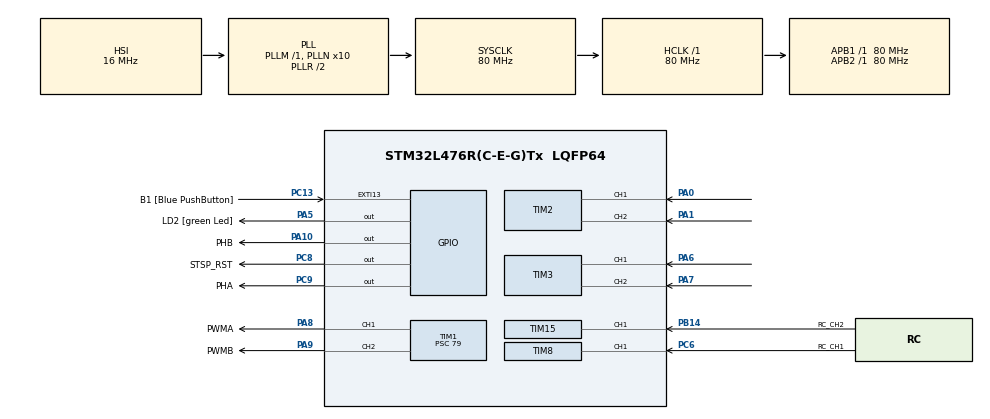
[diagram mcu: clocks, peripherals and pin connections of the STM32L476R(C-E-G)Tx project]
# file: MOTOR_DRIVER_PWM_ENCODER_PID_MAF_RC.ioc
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Mcu.Family=STM32L4
Mcu.Name=STM32L476R(C-E-G)Tx
Mcu.Package=LQFP64
NVIC.PriorityGroup=NVIC_PRIORITYGROUP_4
NVIC.TIM1_BRK_TIM15_IRQn=true\:0\:0\:false\:false\:true\:true\:true\:true
NVIC.TIM4_IRQn=true\:0\:0\:false\:false\:true\:true\:true\:true
NVIC.TIM8_BRK_IRQn=true\:0\:0\:false\:false\:true\:true\:true\:true
NVIC.TIM8_CC_IRQn=true\:0\:0\:false\:false\:true\:true\:true\:true
NVIC.TIM8_TRG_COM_IRQn=true\:0\:0\:false\:false\:true\:true\:true\:true
NVIC.TIM8_UP_IRQn=true\:0\:0\:false\:false\:true\:true\:true\:true
PA0.Signal=S_TIM2_CH1
PA1.Signal=S_TIM2_CH2
PA10.GPIO_Label=PHB
PA10.Signal=GPIO_Output
PA13\ (JTMS-SWDIO).GPIO_Label=TMS
PA13\ (JTMS-SWDIO).Signal=SYS_JTMS-SWDIO
PA14\ (JTCK-SWCLK).GPIO_Label=TCK
PA14\ (JTCK-SWCLK).Signal=SYS_JTCK-SWCLK
PA2.GPIO_Label=USART_TX
PA2.GPIO_Mode=GPIO_MODE_AF_PP
PA2.GPIO_PuPd=GPIO_NOPULL
PA2.GPIO_Speed=GPIO_SPEED_FREQ_VERY_HIGH
PA2.Signal=USART2_TX
PA3.GPIO_Label=USART_RX
PA3.GPIO_Mode=GPIO_MODE_AF_PP
PA3.GPIO_PuPd=GPIO_NOPULL
PA3.GPIO_Speed=GPIO_SPEED_FREQ_VERY_HIGH
PA3.Signal=USART2_RX
PA5.GPIO_Label=LD2 [green Led]
PA5.GPIO_ModeDefaultOutputPP=GPIO_MODE_OUTPUT_PP
PA5.GPIO_PuPd=GPIO_NOPULL
PA5.GPIO_Speed=GPIO_SPEED_FREQ_LOW
PA5.Signal=GPIO_Output
PA6.Signal=S_TIM3_CH1
PA7.Signal=S_TIM3_CH2
PA8.GPIO_Label=PWMA
PA8.Signal=S_TIM1_CH1
PA9.GPIO_Label=PWMB
PA9.Signal=S_TIM1_CH2
PB14.GPIO_Label=RC_CH2
PB14.Signal=S_TIM15_CH1
PB3\ (JTDO-TRACESWO).GPIO_Label=SWO
PB3\ (JTDO-TRACESWO).Signal=SYS_JTDO-SWO
PC13.GPIO_Label=B1 [Blue PushButton]
PC13.GPIO_ModeDefaultEXTI=GPIO_MODE_IT_FALLING
PC13.GPIO_PuPd=GPIO_NOPULL
PC13.Signal=GPXTI13
PC14-OSC32_IN\ (PC14).Signal=RCC_OSC32_IN
PC15-OSC32_OUT\ (PC15).Signal=RCC_OSC32_OUT
PC6.GPIO_Label=RC_CH1
PC6.Signal=S_TIM8_CH1
PC8.GPIO_Label=STSP_RST
PC8.Signal=GPIO_Output
PC9.GPIO_Label=PHA
PC9.Signal=GPIO_Output
PH0-OSC_IN\ (PH0).Signal=RCC_OSC_IN
PH1-OSC_OUT\ (PH1).Signal=RCC_OSC_OUT
ProjectManager.HeapSize=0x200
ProjectManager.StackSize=0x400
ProjectManager.TargetToolchain=STM32CubeIDE
RCC.ADCFreq_Value=64000000
RCC.AHBFreq_Value=80000000
RCC.APB1Freq_Value=80000000
RCC.APB1TimFreq_Value=80000000
RCC.APB2Freq_Value=80000000
RCC.APB2TimFreq_Value=80000000
RCC.CortexFreq_Value=80000000
RCC.HCLKFreq_Value=80000000
RCC.HSE_VALUE=8000000
RCC.HSI_VALUE=16000000
RCC.LSE_VALUE=32768
RCC.MSI_VALUE=4000000
RCC.PLLN=10
RCC.PLLSourceVirtual=RCC_PLLSOURCE_HSI
RCC.PREFETCH_ENABLE=1
RCC.SYSCLKFreq_VALUE=80000000
RCC.SYSCLKSource=RCC_SYSCLKSOURCE_PLLCLK
RCC.USBFreq_Value=64000000
RCC.VCOOutputFreq_Value=160000000
SH.S_TIM15_CH1.0=TIM15_CH1,PWM_Input_1
SH.S_TIM1_CH1.0=TIM1_CH1,PWM Generation1 CH1
SH.S_TIM1_CH2.0=TIM1_CH2,PWM Generation2 CH2
SH.S_TIM2_CH1.0=TIM2_CH1,Encoder_Interface
SH.S_TIM2_CH2.0=TIM2_CH2,Encoder_Interface
SH.S_TIM3_CH1.0=TIM3_CH1,Encoder_Interface
SH.S_TIM3_CH2.0=TIM3_CH2,Encoder_Interface
SH.S_TIM8_CH1.0=TIM8_CH1,PWM_Input_1
TIM1.Channel-PWM\ Generation1\ CH1=TIM_CHANNEL_1
TIM1.Channel-PWM\ Generation2\ CH2=TIM_CHANNEL_2
TIM1.Period=999
TIM1.Prescaler=79
TIM15.Prescaler=9
TIM4.Period=1999
TIM4.Prescaler=79
TIM8.Prescaler=9
VP_TIM15_VS_ClockSourceINT.Mode=Internal
VP_TIM1_VS_ClockSourceINT.Mode=Internal
VP_TIM4_VS_ClockSourceINT.Mode=Internal
VP_TIM8_VS_ClockSourceINT.Mode=Internal
board=NUCLEO-L476RG

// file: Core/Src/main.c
/* USER CODE BEGIN Header */
/**
  ******************************************************************************
  * @file           : main.c
  * @brief          : Main program body
  ******************************************************************************
  * @attention
  *
  * Copyright (c) 2024 STMicroelectronics.
  * All rights reserved.
  *
  * This software is licensed under terms that can be found in the LICENSE file
  * in the root directory of this software component.
  * If no LICENSE file comes with this software, it is provided AS-IS.
  *
  ******************************************************************************
  */
/* USER CODE END Header */
#include "main.h"

/* USER CODE BEGIN Includes */
#include "motor_control.h"
#include "stdio.h"
#include "motor_encoder.h"
#include "pid_control.h"
/* USER CODE END Includes */

/* USER CODE BEGIN PD */
#define RC_OFFSET 12000
/* USER CODE END PD */

TIM_HandleTypeDef htim1;
TIM_HandleTypeDef htim2;
TIM_HandleTypeDef htim3;
TIM_HandleTypeDef htim4;
TIM_HandleTypeDef htim8;
TIM_HandleTypeDef htim15;

/* USER CODE BEGIN PV */
const static motor_inst motor_a = { .htim_motor = &htim1,
									.htim_motor_ch = TIM_CHANNEL_1,
									.mdir_pin_number = PHA_Pin,
									.mdir_pin_port = PHA_GPIO_Port,
									.rst_pin_number = STSP_RST_Pin,
									.rst_pin_port = STSP_RST_GPIO_Port};
const static motor_inst motor_b = { .htim_motor = &htim1,
									.htim_motor_ch = TIM_CHANNEL_2,
									.mdir_pin_number = PHB_Pin,
									.mdir_pin_port = PHB_GPIO_Port,
									.rst_pin_number = STSP_RST_Pin,
									.rst_pin_port = STSP_RST_GPIO_Port};

static encoder_inst  motora_enc = 	{.first_time = 0,
											.htim_encoder = &htim3,
											.last_counter_value = 0,
											.position = 0,
											.timer_period = 0.01,
											.velocity = 0};
static encoder_inst  motorb_enc = 	{.first_time = 0,
											.htim_encoder = &htim2,
											.last_counter_value = 0,
											.position = 0,
											.timer_period = 0.01,
											.velocity = 0};
static pid_instance mota_pid = {.d_gain = 0,
								.error_integral = 0,
								.i_gain = 25,
								.integral_max = 5000,
								.last_error = 0,
								.output = 0,
								.p_gain = 20,
								.pid_max = 100,
								.sam_rate = 100};

float temp_velocity;
uint8_t timer_flag;
int32_t duty_cyclech1, duty_cyclech2;

/* USER CODE END PV */

void SystemClock_Config(void);
static void MX_GPIO_Init(void);
static void MX_TIM1_Init(void);
static void MX_TIM2_Init(void);
static void MX_TIM3_Init(void);
static void MX_TIM4_Init(void);
static void MX_TIM8_Init(void);
static void MX_TIM15_Init(void);

/* USER CODE BEGIN 0 */
void HAL_TIM_IC_CaptureCallback(TIM_HandleTypeDef *htim)
{
	//int32_t frequency;
	uint32_t capture_value;
	static uint8_t first_time1 = 1, first_time2 = 1;

	if (htim == &htim8)
	{
		if(first_time1 == 0)
		{
			if(htim ->Channel == HAL_TIM_ACTIVE_CHANNEL_1)
			{
				capture_value = HAL_TIM_ReadCapturedValue(htim, TIM_CHANNEL_1);
			}
			if(htim ->Channel == HAL_TIM_ACTIVE_CHANNEL_2)
			{
				duty_cyclech1 = HAL_TIM_ReadCapturedValue(htim, TIM_CHANNEL_2) - RC_OFFSET;
			}

		}
		else
		{
			first_time1 = 0;
		}
	}
	if (htim == &htim15)
	{
		if(first_time2 == 0)
		{
			if(htim ->Channel == HAL_TIM_ACTIVE_CHANNEL_1)
			{
				capture_value = HAL_TIM_ReadCapturedValue(htim, TIM_CHANNEL_1);
			}
			if(htim ->Channel == HAL_TIM_ACTIVE_CHANNEL_2)
			{
				duty_cyclech2 = HAL_TIM_ReadCapturedValue(htim, TIM_CHANNEL_2) - RC_OFFSET;
			}
		}
		else
		{
			first_time2 = 0;
		}
	}
}
/* USER CODE END 0 */

int main(void)
{

  /* MCU Configuration--------------------------------------------------------*/

  /* Reset of all peripherals, Initializes the Flash interface and the Systick. */
  HAL_Init();

  /* Configure the system clock */
  SystemClock_Config();

  /* Initialize all configured peripherals */
  MX_GPIO_Init();
  MX_TIM1_Init();
  MX_TIM2_Init();
  MX_TIM3_Init();
  MX_TIM4_Init();
  MX_TIM8_Init();
  MX_TIM15_Init();
  /* USER CODE BEGIN 2 */

  HAL_TIM_PWM_Start(&htim1, TIM_CHANNEL_1);
  HAL_TIM_PWM_Start(&htim1, TIM_CHANNEL_2);
  enable_motor((motor_inst*)&motor_a);
  enable_motor((motor_inst*)&motor_b);
//  HAL_Delay(100);
//  set_speed_open((motor_inst*)&motor_a, 20.0);
//  set_speed_open((motor_inst*)&motor_b, 20.0);
//  HAL_Delay(3000);
//  set_speed_open((motor_inst*)&motor_a, -10.0);
//   set_speed_open((motor_inst*)&motor_b, -20.0);
//   HAL_Delay(3000);
//   disable_motor((motor_inst*)&motor_a);
//   disable_motor((motor_inst*)&motor_b);
  reset_encoder(&motora_enc);
  reset_encoder(&motorb_enc);
  reset_pid(&mota_pid);
  /* USER CODE END 2 */

  /* Infinite loop */
  /* USER CODE BEGIN WHILE */
  while (1)
  {
	  if(timer_flag)
	  {
		  timer_flag = 0;
		  get_encoder_speed(&motora_enc);
		  get_encoder_speed(&motorb_enc);
		  temp_velocity = motora_enc.velocity;
		  //apply_pid(&mota_pid, 5 - temp_velocity);
		  set_speed_open((motor_inst*)&motor_a, (duty_cyclech1 / 100));
		  set_speed_open((motor_inst*)&motor_b, (duty_cyclech2 / 100));

	  }
    /* USER CODE END WHILE */

  }
}

void SystemClock_Config(void)
{
  RCC_OscInitTypeDef RCC_OscInitStruct = {0};
  RCC_ClkInitTypeDef RCC_ClkInitStruct = {0};

  /** Configure the main internal regulator output voltage
  */
  if (HAL_PWREx_ControlVoltageScaling(PWR_REGULATOR_VOLTAGE_SCALE1) != HAL_OK)
  {
    Error_Handler();
  }

  /** Initializes the RCC Oscillators according to the specified parameters
  * in the RCC_OscInitTypeDef structure.
  */
  RCC_OscInitStruct.OscillatorType = RCC_OSCILLATORTYPE_HSI;
  RCC_OscInitStruct.HSIState = RCC_HSI_ON;
  RCC_OscInitStruct.HSICalibrationValue = RCC_HSICALIBRATION_DEFAULT;
  RCC_OscInitStruct.PLL.PLLState = RCC_PLL_ON;
  RCC_OscInitStruct.PLL.PLLSource = RCC_PLLSOURCE_HSI;
  RCC_OscInitStruct.PLL.PLLM = 1;
  RCC_OscInitStruct.PLL.PLLN = 10;
  RCC_OscInitStruct.PLL.PLLP = RCC_PLLP_DIV7;
  RCC_OscInitStruct.PLL.PLLQ = RCC_PLLQ_DIV2;
  RCC_OscInitStruct.PLL.PLLR = RCC_PLLR_DIV2;
  if (HAL_RCC_OscConfig(&RCC_OscInitStruct) != HAL_OK)
  {
    Error_Handler();
  }

  /** Initializes the CPU, AHB and APB buses clocks
  */
  RCC_ClkInitStruct.ClockType = RCC_CLOCKTYPE_HCLK|RCC_CLOCKTYPE_SYSCLK
                              |RCC_CLOCKTYPE_PCLK1|RCC_CLOCKTYPE_PCLK2;
  RCC_ClkInitStruct.SYSCLKSource = RCC_SYSCLKSOURCE_PLLCLK;
  RCC_ClkInitStruct.AHBCLKDivider = RCC_SYSCLK_DIV1;
  RCC_ClkInitStruct.APB1CLKDivider = RCC_HCLK_DIV1;
  RCC_ClkInitStruct.APB2CLKDivider = RCC_HCLK_DIV1;

  if (HAL_RCC_ClockConfig(&RCC_ClkInitStruct, FLASH_LATENCY_4) != HAL_OK)
  {
    Error_Handler();
  }
}

static void MX_TIM1_Init(void)
{

  TIM_ClockConfigTypeDef sClockSourceConfig = {0};
  TIM_MasterConfigTypeDef sMasterConfig = {0};
  TIM_OC_InitTypeDef sConfigOC = {0};
  TIM_BreakDeadTimeConfigTypeDef sBreakDeadTimeConfig = {0};

  /* USER CODE BEGIN TIM1_Init 1 */
  // 80 MHz/ ( 79 + 1) = 1 MHz timer
  // 1 MHZ/ (999 + 1) = 1 kHz
  // 500 / (999 + 1) = 0.5
  /* USER CODE END TIM1_Init 1 */
  htim1.Instance = TIM1;
  htim1.Init.Prescaler = 79;
  htim1.Init.CounterMode = TIM_COUNTERMODE_UP;
  htim1.Init.Period = 999;
  htim1.Init.ClockDivision = TIM_CLOCKDIVISION_DIV1;
  htim1.Init.RepetitionCounter = 0;
  htim1.Init.AutoReloadPreload = TIM_AUTORELOAD_PRELOAD_DISABLE;
  if (HAL_TIM_Base_Init(&htim1) != HAL_OK)
  {
    Error_Handler();
  }
  sClockSourceConfig.ClockSource = TIM_CLOCKSOURCE_INTERNAL;
  if (HAL_TIM_ConfigClockSource(&htim1, &sClockSourceConfig) != HAL_OK)
  {
    Error_Handler();
  }
  if (HAL_TIM_PWM_Init(&htim1) != HAL_OK)
  {
    Error_Handler();
  }
  sMasterConfig.MasterOutputTrigger = TIM_TRGO_RESET;
  sMasterConfig.MasterOutputTrigger2 = TIM_TRGO2_RESET;
  sMasterConfig.MasterSlaveMode = TIM_MASTERSLAVEMODE_DISABLE;
  if (HAL_TIMEx_MasterConfigSynchronization(&htim1, &sMasterConfig) != HAL_OK)
  {
    Error_Handler();
  }
  sConfigOC.OCMode = TIM_OCMODE_PWM1;
  sConfigOC.Pulse = 0;
  sConfigOC.OCPolarity = TIM_OCPOLARITY_HIGH;
  sConfigOC.OCNPolarity = TIM_OCNPOLARITY_HIGH;
  sConfigOC.OCFastMode = TIM_OCFAST_DISABLE;
  sConfigOC.OCIdleState = TIM_OCIDLESTATE_RESET;
  sConfigOC.OCNIdleState = TIM_OCNIDLESTATE_RESET;
  if (HAL_TIM_PWM_ConfigChannel(&htim1, &sConfigOC, TIM_CHANNEL_1) != HAL_OK)
  {
    Error_Handler();
  }
  if (HAL_TIM_PWM_ConfigChannel(&htim1, &sConfigOC, TIM_CHANNEL_2) != HAL_OK)
  {
    Error_Handler();
  }
  sBreakDeadTimeConfig.OffStateRunMode = TIM_OSSR_DISABLE;
  sBreakDeadTimeConfig.OffStateIDLEMode = TIM_OSSI_DISABLE;
  sBreakDeadTimeConfig.LockLevel = TIM_LOCKLEVEL_OFF;
  sBreakDeadTimeConfig.DeadTime = 0;
  sBreakDeadTimeConfig.BreakState = TIM_BREAK_DISABLE;
  sBreakDeadTimeConfig.BreakPolarity = TIM_BREAKPOLARITY_HIGH;
  sBreakDeadTimeConfig.BreakFilter = 0;
  sBreakDeadTimeConfig.Break2State = TIM_BREAK2_DISABLE;
  sBreakDeadTimeConfig.Break2Polarity = TIM_BREAK2POLARITY_HIGH;
  sBreakDeadTimeConfig.Break2Filter = 0;
  sBreakDeadTimeConfig.AutomaticOutput = TIM_AUTOMATICOUTPUT_DISABLE;
  if (HAL_TIMEx_ConfigBreakDeadTime(&htim1, &sBreakDeadTimeConfig) != HAL_OK)
  {
    Error_Handler();
  }
  HAL_TIM_MspPostInit(&htim1);

}

static void MX_TIM2_Init(void)
{

  TIM_Encoder_InitTypeDef sConfig = {0};
  TIM_MasterConfigTypeDef sMasterConfig = {0};

  htim2.Instance = TIM2;
  htim2.Init.Prescaler = 0;
  htim2.Init.CounterMode = TIM_COUNTERMODE_UP;
  htim2.Init.Period = 4294967295;
  htim2.Init.ClockDivision = TIM_CLOCKDIVISION_DIV1;
  htim2.Init.AutoReloadPreload = TIM_AUTORELOAD_PRELOAD_DISABLE;
  sConfig.EncoderMode = TIM_ENCODERMODE_TI1;
  sConfig.IC1Polarity = TIM_ICPOLARITY_RISING;
  sConfig.IC1Selection = TIM_ICSELECTION_DIRECTTI;
  sConfig.IC1Prescaler = TIM_ICPSC_DIV1;
  sConfig.IC1Filter = 0;
  sConfig.IC2Polarity = TIM_ICPOLARITY_RISING;
  sConfig.IC2Selection = TIM_ICSELECTION_DIRECTTI;
  sConfig.IC2Prescaler = TIM_ICPSC_DIV1;
  sConfig.IC2Filter = 0;
  if (HAL_TIM_Encoder_Init(&htim2, &sConfig) != HAL_OK)
  {
    Error_Handler();
  }
  sMasterConfig.MasterOutputTrigger = TIM_TRGO_RESET;
  sMasterConfig.MasterSlaveMode = TIM_MASTERSLAVEMODE_DISABLE;
  if (HAL_TIMEx_MasterConfigSynchronization(&htim2, &sMasterConfig) != HAL_OK)
  {
    Error_Handler();
  }
  /* USER CODE BEGIN TIM2_Init 2 */
  HAL_TIM_Encoder_Start(&htim2, TIM_CHANNEL_ALL);
  /* USER CODE END TIM2_Init 2 */

}

static void MX_TIM3_Init(void)
{

  TIM_Encoder_InitTypeDef sConfig = {0};
  TIM_MasterConfigTypeDef sMasterConfig = {0};

  htim3.Instance = TIM3;
  htim3.Init.Prescaler = 0;
  htim3.Init.CounterMode = TIM_COUNTERMODE_UP;
  htim3.Init.Period = 65535;
  htim3.Init.ClockDivision = TIM_CLOCKDIVISION_DIV1;
  htim3.Init.AutoReloadPreload = TIM_AUTORELOAD_PRELOAD_DISABLE;
  sConfig.EncoderMode = TIM_ENCODERMODE_TI1;
  sConfig.IC1Polarity = TIM_ICPOLARITY_RISING;
  sConfig.IC1Selection = TIM_ICSELECTION_DIRECTTI;
  sConfig.IC1Prescaler = TIM_ICPSC_DIV1;
  sConfig.IC1Filter = 0;
  sConfig.IC2Polarity = TIM_ICPOLARITY_RISING;
  sConfig.IC2Selection = TIM_ICSELECTION_DIRECTTI;
  sConfig.IC2Prescaler = TIM_ICPSC_DIV1;
  sConfig.IC2Filter = 0;
  if (HAL_TIM_Encoder_Init(&htim3, &sConfig) != HAL_OK)
  {
    Error_Handler();
  }
  sMasterConfig.MasterOutputTrigger = TIM_TRGO_RESET;
  sMasterConfig.MasterSlaveMode = TIM_MASTERSLAVEMODE_DISABLE;
  if (HAL_TIMEx_MasterConfigSynchronization(&htim3, &sMasterConfig) != HAL_OK)
  {
    Error_Handler();
  }
  /* USER CODE BEGIN TIM3_Init 2 */
  HAL_TIM_Encoder_Start(&htim3, TIM_CHANNEL_ALL);
  /* USER CODE END TIM3_Init 2 */

}

static void MX_TIM4_Init(void)
{

  TIM_ClockConfigTypeDef sClockSourceConfig = {0};
  TIM_MasterConfigTypeDef sMasterConfig = {0};

  htim4.Instance = TIM4;
  htim4.Init.Prescaler = 79;
  htim4.Init.CounterMode = TIM_COUNTERMODE_UP;
  htim4.Init.Period = 1999;
  htim4.Init.ClockDivision = TIM_CLOCKDIVISION_DIV1;
  htim4.Init.AutoReloadPreload = TIM_AUTORELOAD_PRELOAD_DISABLE;
  if (HAL_TIM_Base_Init(&htim4) != HAL_OK)
  {
    Error_Handler();
  }
  sClockSourceConfig.ClockSource = TIM_CLOCKSOURCE_INTERNAL;
  if (HAL_TIM_ConfigClockSource(&htim4, &sClockSourceConfig) != HAL_OK)
  {
    Error_Handler();
  }
  sMasterConfig.MasterOutputTrigger = TIM_TRGO_RESET;
  sMasterConfig.MasterSlaveMode = TIM_MASTERSLAVEMODE_DISABLE;
  if (HAL_TIMEx_MasterConfigSynchronization(&htim4, &sMasterConfig) != HAL_OK)
  {
    Error_Handler();
  }
  /* USER CODE BEGIN TIM4_Init 2 */
  HAL_TIM_Base_Start_IT(&htim4);
  /* USER CODE END TIM4_Init 2 */

}

static void MX_TIM8_Init(void)
{

  TIM_ClockConfigTypeDef sClockSourceConfig = {0};
  TIM_SlaveConfigTypeDef sSlaveConfig = {0};
  TIM_IC_InitTypeDef sConfigIC = {0};
  TIM_MasterConfigTypeDef sMasterConfig = {0};

  htim8.Instance = TIM8;
  htim8.Init.Prescaler = 9;
  htim8.Init.CounterMode = TIM_COUNTERMODE_UP;
  htim8.Init.Period = 65535;
  htim8.Init.ClockDivision = TIM_CLOCKDIVISION_DIV1;
  htim8.Init.RepetitionCounter = 0;
  htim8.Init.AutoReloadPreload = TIM_AUTORELOAD_PRELOAD_DISABLE;
  if (HAL_TIM_Base_Init(&htim8) != HAL_OK)
  {
    Error_Handler();
  }
  sClockSourceConfig.ClockSource = TIM_CLOCKSOURCE_INTERNAL;
  if (HAL_TIM_ConfigClockSource(&htim8, &sClockSourceConfig) != HAL_OK)
  {
    Error_Handler();
  }
  if (HAL_TIM_IC_Init(&htim8) != HAL_OK)
  {
    Error_Handler();
  }
  sSlaveConfig.SlaveMode = TIM_SLAVEMODE_RESET;
  sSlaveConfig.InputTrigger = TIM_TS_TI1FP1;
  sSlaveConfig.TriggerPolarity = TIM_INPUTCHANNELPOLARITY_RISING;
  sSlaveConfig.TriggerPrescaler = TIM_ICPSC_DIV1;
  sSlaveConfig.TriggerFilter = 0;
  if (HAL_TIM_SlaveConfigSynchro(&htim8, &sSlaveConfig) != HAL_OK)
  {
    Error_Handler();
  }
  sConfigIC.ICPolarity = TIM_INPUTCHANNELPOLARITY_RISING;
  sConfigIC.ICSelection = TIM_ICSELECTION_DIRECTTI;
  sConfigIC.ICPrescaler = TIM_ICPSC_DIV1;
  sConfigIC.ICFilter = 0;
  if (HAL_TIM_IC_ConfigChannel(&htim8, &sConfigIC, TIM_CHANNEL_1) != HAL_OK)
  {
    Error_Handler();
  }
  sConfigIC.ICPolarity = TIM_INPUTCHANNELPOLARITY_FALLING;
  sConfigIC.ICSelection = TIM_ICSELECTION_INDIRECTTI;
  if (HAL_TIM_IC_ConfigChannel(&htim8, &sConfigIC, TIM_CHANNEL_2) != HAL_OK)
  {
    Error_Handler();
  }
  sMasterConfig.MasterOutputTrigger = TIM_TRGO_RESET;
  sMasterConfig.MasterOutputTrigger2 = TIM_TRGO2_RESET;
  sMasterConfig.MasterSlaveMode = TIM_MASTERSLAVEMODE_DISABLE;
  if (HAL_TIMEx_MasterConfigSynchronization(&htim8, &sMasterConfig) != HAL_OK)
  {
    Error_Handler();
  }
  /* USER CODE BEGIN TIM8_Init 2 */
  HAL_TIM_IC_Start_IT(&htim8, TIM_CHANNEL_1);
  HAL_TIM_IC_Start_IT(&htim8, TIM_CHANNEL_2);
  /* USER CODE END TIM8_Init 2 */

}

static void MX_TIM15_Init(void)
{

  TIM_ClockConfigTypeDef sClockSourceConfig = {0};
  TIM_SlaveConfigTypeDef sSlaveConfig = {0};
  TIM_IC_InitTypeDef sConfigIC = {0};
  TIM_MasterConfigTypeDef sMasterConfig = {0};

  htim15.Instance = TIM15;
  htim15.Init.Prescaler = 9;
  htim15.Init.CounterMode = TIM_COUNTERMODE_UP;
  htim15.Init.Period = 65535;
  htim15.Init.ClockDivision = TIM_CLOCKDIVISION_DIV1;
  htim15.Init.RepetitionCounter = 0;
  htim15.Init.AutoReloadPreload = TIM_AUTORELOAD_PRELOAD_DISABLE;
  if (HAL_TIM_Base_Init(&htim15) != HAL_OK)
  {
    Error_Handler();
  }
  sClockSourceConfig.ClockSource = TIM_CLOCKSOURCE_INTERNAL;
  if (HAL_TIM_ConfigClockSource(&htim15, &sClockSourceConfig) != HAL_OK)
  {
    Error_Handler();
  }
  if (HAL_TIM_IC_Init(&htim15) != HAL_OK)
  {
    Error_Handler();
  }
  sSlaveConfig.SlaveMode = TIM_SLAVEMODE_RESET;
  sSlaveConfig.InputTrigger = TIM_TS_TI1FP1;
  sSlaveConfig.TriggerPolarity = TIM_INPUTCHANNELPOLARITY_RISING;
  sSlaveConfig.TriggerPrescaler = TIM_ICPSC_DIV1;
  sSlaveConfig.TriggerFilter = 0;
  if (HAL_TIM_SlaveConfigSynchro(&htim15, &sSlaveConfig) != HAL_OK)
  {
    Error_Handler();
  }
  sConfigIC.ICPolarity = TIM_INPUTCHANNELPOLARITY_RISING;
  sConfigIC.ICSelection = TIM_ICSELECTION_DIRECTTI;
  sConfigIC.ICPrescaler = TIM_ICPSC_DIV1;
  sConfigIC.ICFilter = 0;
  if (HAL_TIM_IC_ConfigChannel(&htim15, &sConfigIC, TIM_CHANNEL_1) != HAL_OK)
  {
    Error_Handler();
  }
  sConfigIC.ICPolarity = TIM_INPUTCHANNELPOLARITY_FALLING;
  sConfigIC.ICSelection = TIM_ICSELECTION_INDIRECTTI;
  if (HAL_TIM_IC_ConfigChannel(&htim15, &sConfigIC, TIM_CHANNEL_2) != HAL_OK)
  {
    Error_Handler();
  }
  sMasterConfig.MasterOutputTrigger = TIM_TRGO_RESET;
  sMasterConfig.MasterSlaveMode = TIM_MASTERSLAVEMODE_DISABLE;
  if (HAL_TIMEx_MasterConfigSynchronization(&htim15, &sMasterConfig) != HAL_OK)
  {
    Error_Handler();
  }
  /* USER CODE BEGIN TIM15_Init 2 */
  HAL_TIM_IC_Start_IT(&htim15, TIM_CHANNEL_1);
  HAL_TIM_IC_Start_IT(&htim15, TIM_CHANNEL_2);
  /* USER CODE END TIM15_Init 2 */

}

static void MX_GPIO_Init(void)
{
  GPIO_InitTypeDef GPIO_InitStruct = {0};

  /* GPIO Ports Clock Enable */
  __HAL_RCC_GPIOC_CLK_ENABLE();
  __HAL_RCC_GPIOH_CLK_ENABLE();
  __HAL_RCC_GPIOA_CLK_ENABLE();
  __HAL_RCC_GPIOB_CLK_ENABLE();

  /*Configure GPIO pin Output Level */
  HAL_GPIO_WritePin(GPIOA, LD2_Pin|PHB_Pin, GPIO_PIN_RESET);

  /*Configure GPIO pin Output Level */
  HAL_GPIO_WritePin(GPIOC, STSP_RST_Pin|PHA_Pin, GPIO_PIN_RESET);

  /*Configure GPIO pin : B1_Pin */
  GPIO_InitStruct.Pin = B1_Pin;
  GPIO_InitStruct.Mode = GPIO_MODE_IT_FALLING;
  GPIO_InitStruct.Pull = GPIO_NOPULL;
  HAL_GPIO_Init(B1_GPIO_Port, &GPIO_InitStruct);

  /*Configure GPIO pins : USART_TX_Pin USART_RX_Pin */
  GPIO_InitStruct.Pin = USART_TX_Pin|USART_RX_Pin;
  GPIO_InitStruct.Mode = GPIO_MODE_AF_PP;
  GPIO_InitStruct.Pull = GPIO_NOPULL;
  GPIO_InitStruct.Speed = GPIO_SPEED_FREQ_VERY_HIGH;
  GPIO_InitStruct.Alternate = GPIO_AF7_USART2;
  HAL_GPIO_Init(GPIOA, &GPIO_InitStruct);

  /*Configure GPIO pins : LD2_Pin PHB_Pin */
  GPIO_InitStruct.Pin = LD2_Pin|PHB_Pin;
  GPIO_InitStruct.Mode = GPIO_MODE_OUTPUT_PP;
  GPIO_InitStruct.Pull = GPIO_NOPULL;
  GPIO_InitStruct.Speed = GPIO_SPEED_FREQ_LOW;
  HAL_GPIO_Init(GPIOA, &GPIO_InitStruct);

  /*Configure GPIO pins : STSP_RST_Pin PHA_Pin */
  GPIO_InitStruct.Pin = STSP_RST_Pin|PHA_Pin;
  GPIO_InitStruct.Mode = GPIO_MODE_OUTPUT_PP;
  GPIO_InitStruct.Pull = GPIO_NOPULL;
  GPIO_InitStruct.Speed = GPIO_SPEED_FREQ_LOW;
  HAL_GPIO_Init(GPIOC, &GPIO_InitStruct);

}

/* USER CODE BEGIN 4 */
int _write(int le, char *ptr, int len)
{
	int DataIdx;
	for(DataIdx = 0; DataIdx < len; DataIdx++)
	{
		ITM_SendChar(*ptr++);
	}
	return len;
}

void HAL_TIM_PeriodElapsedCallback(TIM_HandleTypeDef *htim)
{
	if(htim == &htim4)
	{
		timer_flag = 1;
	}
}
/* USER CODE END 4 */

void Error_Handler(void)
{
  __disable_irq();
  while (1)
  {
  }
}
